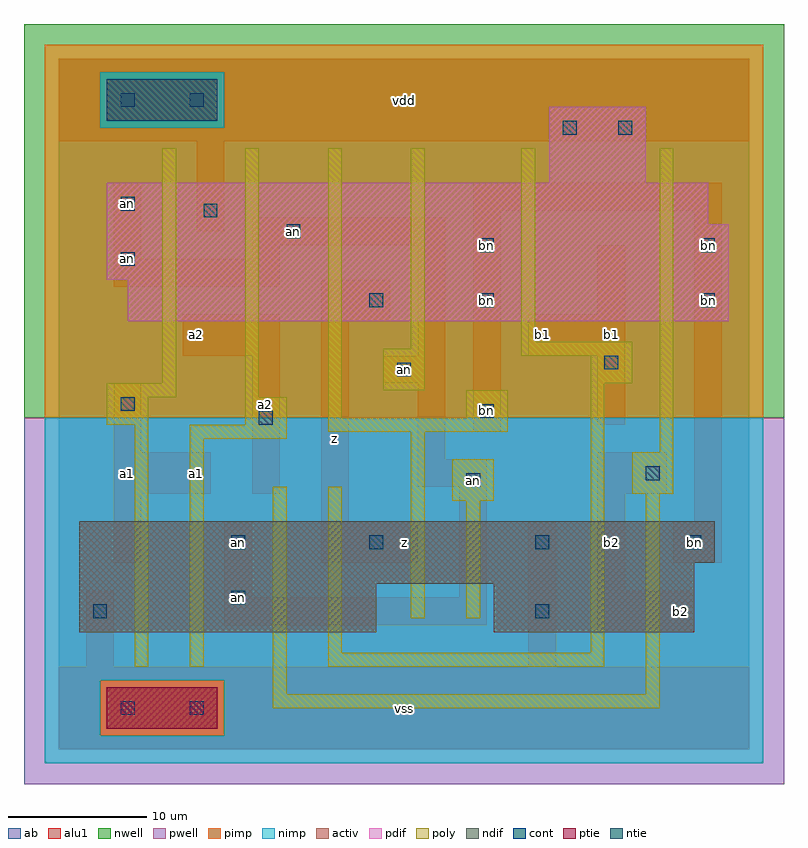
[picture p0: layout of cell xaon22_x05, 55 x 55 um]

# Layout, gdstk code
import gdstk
lib = gdstk.Library(unit=1e-6, precision=1e-09)
def R(c, l, rs):  # rectangles x0, y0, x1, y1
    for r in rs: c.add(gdstk.rectangle(r[:2], r[2:], *l))
ndif = (3, 0)
pdif = (4, 0)
ntie = (5, 0)
ptie = (6, 0)
cont = (25, 0)
pwell = (41, 0)
nwell = (42, 0)
activ = (43, 0)
pimp = (44, 0)
nimp = (45, 0)
poly = (46, 0)
alu1 = (49, 0)
ab = (63, 0)

xaon22_x05 = lib.new_cell('xaon22_x05')
R(xaon22_x05, ndif, [(1.5,8.5,23,12), (31.5,8.5,46,12), (1.5,12,46,13.5), (1.5,13.5,47.5,16.5)])
R(xaon22_x05, pdif, [(5,31,48.5,34), (3.5,34,48.5,38), (3.5,38,47,41), (35.5,41,42.5,46.5)])
R(xaon22_x05, ntie, [(3.5,45.5,11.5,48.5)])
R(xaon22_x05, ptie, [(3.5,1.5,11.5,4.5)])
R(xaon22_x05, cont, [(4.5,2.5,5.5,3.5), (9.5,2.5,10.5,3.5), (2.5,9.5,3.5,10.5), (34.5,9.5,35.5,10.5), (12.5,10.5,13.5,11.5), (12.5,14.5,13.5,15.5), (22.5,14.5,23.5,15.5), (34.5,14.5,35.5,15.5), (45.5,14.5,46.5,15.5), (29.5,19,30.5,20), (42.5,19.5,43.5,20.5), (14.5,23.5,15.5,24.5), (30.5,24,31.5,25), (4.5,24.5,5.5,25.5), (24.5,27,25.5,28), (39.5,27.5,40.5,28.5), (22.5,32,23.5,33), (30.5,32,31.5,33), (46.5,32,47.5,33), (4.5,35,5.5,36), (30.5,36,31.5,37), (46.5,36,47.5,37), (16.5,37,17.5,38), (10.5,38.5,11.5,39.5), (4.5,39,5.5,40), (36.5,44.5,37.5,45.5), (40.5,44.5,41.5,45.5), (4.5,46.5,5.5,47.5), (9.5,46.5,10.5,47.5)])
R(xaon22_x05, pwell, [(-2.5,-2.5,52.5,24)])
R(xaon22_x05, nwell, [(-2.5,24,52.5,52.5)])
R(xaon22_x05, activ, [(3.5,1.5,11.5,4.5), (1.5,8.5,23,12), (31.5,8.5,46,12), (1.5,12,46,13.5), (1.5,13.5,47.5,16.5), (5,31,48.5,34), (3.5,34,48.5,38), (3.5,38,47,41), (35.5,41,42.5,46.5), (3.5,45.5,11.5,48.5)])
R(xaon22_x05, pimp, [(3,1,12,5), (-1,24,51,45), (-1,45,3,49), (12,45,51,49), (-1,49,51,51)])
R(xaon22_x05, nimp, [(-1,-1,51,1), (-1,1,3,5), (12,1,51,5), (-1,5,51,24), (3,45,12,49)])
R(xaon22_x05, poly, [(15.5,3,43.5,4), (15.5,4,16.5,19), (42.5,4,43.5,18.5), (5.5,6,6.5,23.5), (9.5,6,10.5,22.5), (19.5,6,39.5,7), (19.5,7,20.5,19), (38.5,7,39.5,26.5), (25.5,9.5,26.5,23), (29.5,9.5,30.5,18), (28.5,18,31.5,21), (41.5,18.5,44.5,21.5), (43.5,21.5,44.5,43.5), (9.5,22.5,16.5,23.5), (19.5,23,32.5,24), (3.5,23.5,6.5,25.5), (13.5,23.5,16.5,25.5), (19.5,24,20.5,43.5), (29.5,24,32.5,26), (3.5,25.5,8.5,26.5), (13.5,25.5,14.5,43.5), (23.5,26,26.5,29), (7.5,26.5,8.5,43.5), (38.5,26.5,41.5,28.5), (33.5,28.5,41.5,29.5), (25.5,29,26.5,43.5), (33.5,29.5,34.5,43.5)])
R(xaon22_x05, alu1, [(0,0,50,6), (0,0,50,6), (2,6,4,11.5), (2,6,4,11.5), (34,6,36,16.5), (34,6,36,16.5), (39,8.5,46,11.5), (39,8.5,46,11.5), (12,9,31,11), (12,9,31,11), (12,11,14,16.5), (12,11,14,16.5), (29,11,31,19), (29,11,31,19), (39,11.5,41,18.5), (39,11.5,41,18.5), (4,13.5,6,18.5), (4,13.5,6,18.5), (19,13.5,26,16.5), (19,13.5,26,16.5), (44.5,13.5,48,16.5), (44.5,13.5,48,16.5), (19,16.5,21,31), (19,16.5,21,31), (46,16.5,48,39), (46,16.5,48,39), (4,18.5,11,21.5), (4,18.5,11,21.5), (14,18.5,16,28.5), (14,18.5,16,28.5), (39,18.5,44,21.5), (39,18.5,44,21.5), (26,19,31,21), (26,19,31,21), (26,21,28,26.5), (26,21,28,26.5), (4,21.5,6,26.5), (4,21.5,6,26.5), (30,23,32,39), (30,23,32,39), (39,23.5,41,28.5), (39,23.5,41,28.5), (23.5,26.5,28,28.5), (23.5,26.5,28,28.5), (9,28.5,16,31.5), (9,28.5,16,31.5), (26,28.5,28,36.5), (26,28.5,28,36.5), (34,28.5,41,31.5), (34,28.5,41,31.5), (19,31,24,34), (19,31,24,34), (39,31.5,41,36.5), (39,31.5,41,36.5), (4,33.5,16,35.5), (4,33.5,16,35.5), (4,35.5,6,41), (4,35.5,6,41), (14,35.5,16,36.5), (14,35.5,16,36.5), (14,36.5,28,38.5), (14,36.5,28,38.5), (10,37.5,12,44), (10,37.5,12,44), (30,39,48,41), (30,39,48,41), (0,44,50,50), (0,44,50,50)])
R(xaon22_x05, ab, [(0,0,50,50)])
xaon22_x05.add(gdstk.Label('an', (5,35.5), layer=49, texttype=0))
xaon22_x05.add(gdstk.Label('an', (5,39.5), layer=49, texttype=0))
xaon22_x05.add(gdstk.Label('an', (13,11), layer=49, texttype=0))
xaon22_x05.add(gdstk.Label('an', (13,15), layer=49, texttype=0))
xaon22_x05.add(gdstk.Label('an', (17,37.5), layer=49, texttype=0))
xaon22_x05.add(gdstk.Label('an', (30,19.5), layer=49, texttype=0))
xaon22_x05.add(gdstk.Label('bn', (31,24.5), layer=49, texttype=0))
xaon22_x05.add(gdstk.Label('an', (25,27.5), layer=49, texttype=0))
xaon22_x05.add(gdstk.Label('bn', (31,32.5), layer=49, texttype=0))
xaon22_x05.add(gdstk.Label('bn', (31,36.5), layer=49, texttype=0))
xaon22_x05.add(gdstk.Label('bn', (46,15), layer=49, texttype=0))
xaon22_x05.add(gdstk.Label('bn', (47,32.5), layer=49, texttype=0))
xaon22_x05.add(gdstk.Label('bn', (47,36.5), layer=49, texttype=0))
xaon22_x05.add(gdstk.Label('a1', (10,20), layer=49, texttype=0))
xaon22_x05.add(gdstk.Label('a1', (5,20), layer=49, texttype=0))
xaon22_x05.add(gdstk.Label('a2', (10,30), layer=49, texttype=0))
xaon22_x05.add(gdstk.Label('z', (20,22.5), layer=49, texttype=0))
xaon22_x05.add(gdstk.Label('a2', (15,25), layer=49, texttype=0))
xaon22_x05.add(gdstk.Label('vss', (25,3), layer=49, texttype=0))
xaon22_x05.add(gdstk.Label('z', (25,15), layer=49, texttype=0))
xaon22_x05.add(gdstk.Label('b1', (35,30), layer=49, texttype=0))
xaon22_x05.add(gdstk.Label('vdd', (25,47), layer=49, texttype=0))
xaon22_x05.add(gdstk.Label('b2', (45,10), layer=49, texttype=0))
xaon22_x05.add(gdstk.Label('b2', (40,15), layer=49, texttype=0))
xaon22_x05.add(gdstk.Label('b1', (40,30), layer=49, texttype=0))

lib.write_gds('xaon22_x05.gds')
